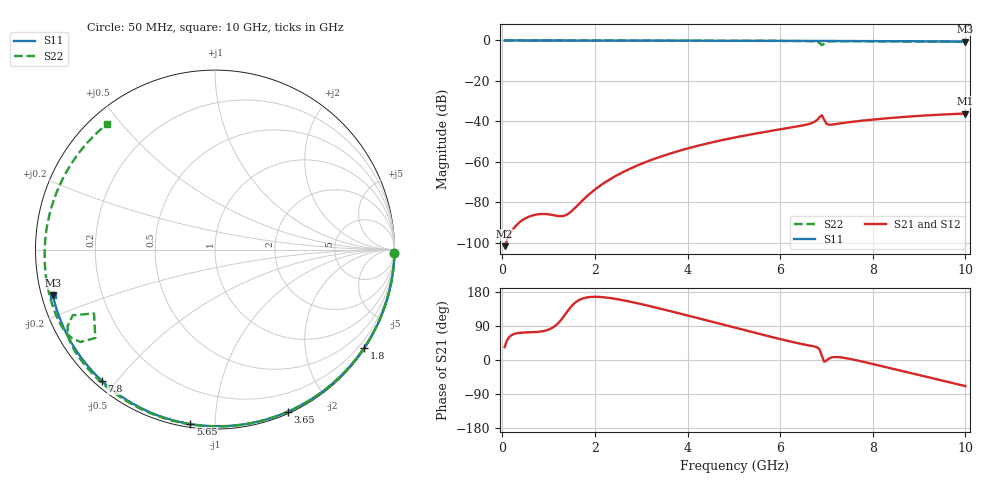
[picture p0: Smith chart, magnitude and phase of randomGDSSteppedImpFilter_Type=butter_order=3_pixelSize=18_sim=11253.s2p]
! freq	dB(S11)	phase(S11)	dB(S12)	phase(S12)
!  dB(S21)	phase(S21)	dB(S22)	phase(S22)
!S-par simulation data
#  GHz  S  DB  R 50
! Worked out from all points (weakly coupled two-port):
!   200 points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, 50 MHz to 10 GHz, reference 50 ohm
!   highest |S21| = -36.16 dB at 10 GHz (marker M1); lowest = -101.8 dB at 50 MHz (marker M2)
!   lowest |S11| = -0.5 dB at 10 GHz (marker M3), VSWR 31.64, Z = 1.61 - j6.93 ohm
!   |S11| at or under -10 dB: nowhere
!   |S22| runs from -2.4 to 0.0 dB; largest |S21 - S12| = 0
!   S11 on the Smith chart (normalised r, x): 50 MHz: open; 1.8 GHz: 0.03, -3.34; 3.65 GHz: 0.02, -1.55; 5.65 GHz: 0.02, -0.87; 7.8 GHz: 0.02, -0.46; 10 GHz: 0.03, -0.14
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0.05  -0.00 -0.9  -101.77 33.8  -101.77 33.8  -0.00 -1.2
0.8  -0.02 -15.0  -85.92 74.6  -85.92 74.6  -0.02 -18.6
1.65  -0.04 -30.6  -81.00 157.6  -81.00 157.6  -0.05 -38.0
1.75  -0.04 -32.4  -78.74 162.8  -78.74 162.8  -0.05 -40.2
1.8  -0.04 -33.3  -77.66 164.4  -77.66 164.4  -0.05 -41.4
2.1  -0.05 -38.7  -72.07 166.4  -72.07 166.4  -0.06 -48.1
2.45  -0.06 -45.0  -67.03 161.1  -67.03 161.1  -0.07 -55.8
3.4  -0.08 -61.5  -57.63 135.8  -57.63 135.8  -0.10 -76.4
3.65  -0.09 -65.7  -55.76 128.3  -55.76 128.3  -0.11 -81.7
5.05  -0.14 -88.7  -47.87 84.5  -47.87 84.5  -0.17 -111.0
5.65  -0.16 -98.1  -45.34 65.8  -45.34 65.8  -0.21 -123.6
6.7  -0.22 -114.2  -40.69 36.7  -40.69 36.7  -0.40 -148.2
6.85  -0.23 -116.4  -37.98 28.0  -37.98 28.0  -1.18 -155.2
6.9  -0.24 -117.2  -37.02 11.1  -37.02 11.1  -2.36 -152.2
6.95  -0.24 -118.0  -39.18 -4.6  -39.18 -4.6  -1.63 -143.6
7  -0.24 -118.7  -41.14 -1.5  -41.14 -1.5  -0.83 -145.5
7.05  -0.25 -119.5  -41.66 3.6  -41.66 3.6  -0.57 -148.1
7.3  -0.27 -123.2  -41.02 7.1  -41.02 7.1  -0.38 -156.4
7.8  -0.31 -130.7  -39.61 -4.9  -39.61 -4.9  -0.40 -168.8
8.35  -0.36 -138.9  -38.42 -20.7  -38.42 -20.7  -0.47 177.6
9.2  -0.45 -151.8  -37.02 -45.8  -37.02 -45.8  -0.58 154.9
10  -0.55 -164.2  -36.16 -68.8  -36.16 -68.8  -0.70 130.6
